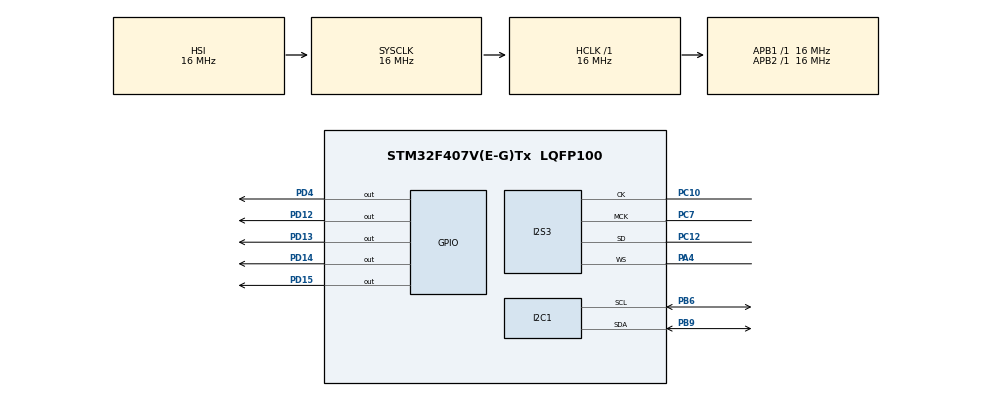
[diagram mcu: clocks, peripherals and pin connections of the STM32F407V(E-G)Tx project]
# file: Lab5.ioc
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Dma.Request0=SPI3_TX
Dma.SPI3_TX.0.Direction=DMA_MEMORY_TO_PERIPH
Dma.SPI3_TX.0.FIFOMode=DMA_FIFOMODE_ENABLE
Dma.SPI3_TX.0.FIFOThreshold=DMA_FIFO_THRESHOLD_FULL
Dma.SPI3_TX.0.Instance=DMA1_Stream5
Dma.SPI3_TX.0.MemBurst=DMA_MBURST_SINGLE
Dma.SPI3_TX.0.MemDataAlignment=DMA_MDATAALIGN_HALFWORD
Dma.SPI3_TX.0.MemInc=DMA_MINC_ENABLE
Dma.SPI3_TX.0.Mode=DMA_CIRCULAR
Dma.SPI3_TX.0.PeriphBurst=DMA_PBURST_SINGLE
Dma.SPI3_TX.0.PeriphDataAlignment=DMA_PDATAALIGN_HALFWORD
Dma.SPI3_TX.0.PeriphInc=DMA_PINC_DISABLE
Dma.SPI3_TX.0.Priority=DMA_PRIORITY_LOW
I2S3.AudioFreq=I2S_AUDIOFREQ_48K
I2S3.ErrorAudioFreq=-2.34 %
I2S3.FullDuplexMode=I2S_FULLDUPLEXMODE_DISABLE
I2S3.Instance=SPI$Index
I2S3.RealAudioFreq=46.875 KHz
I2S3.VirtualMode=I2S_MODE_MASTER
Mcu.Family=STM32F4
Mcu.Name=STM32F407V(E-G)Tx
Mcu.Package=LQFP100
NVIC.DMA1_Stream5_IRQn=true\:0\:0\:false\:false\:true\:false\:true\:true
NVIC.PriorityGroup=NVIC_PRIORITYGROUP_4
PA4.Mode=Half_Duplex_Master
PA4.Signal=I2S3_WS
PB6.Mode=I2C
PB6.Signal=I2C1_SCL
PB9.Mode=I2C
PB9.Signal=I2C1_SDA
PC10.Mode=Half_Duplex_Master
PC10.Signal=I2S3_CK
PC12.Mode=Half_Duplex_Master
PC12.Signal=I2S3_SD
PC7.Mode=Master_Clock_Activated
PC7.Signal=I2S3_MCK
PD12.Signal=GPIO_Output
PD13.Signal=GPIO_Output
PD14.Signal=GPIO_Output
PD15.Signal=GPIO_Output
PD4.Signal=GPIO_Output
ProjectManager.HeapSize=0x200
ProjectManager.StackSize=0x400
ProjectManager.TargetToolchain=STM32CubeIDE
RCC.AHBFreq_Value=16000000
RCC.APB1Freq_Value=16000000
RCC.APB2Freq_Value=16000000
RCC.CortexFreq_Value=16000000
RCC.HSE_VALUE=25000000
RCC.HSI_VALUE=16000000
RCC.LSE_VALUE=32768
RCC.SYSCLKFreq_VALUE=16000000
RCC.VCOOutputFreq_Value=192000000
board=custom

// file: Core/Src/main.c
/* USER CODE BEGIN Header */
/**
  ******************************************************************************
  * @file           : main.c
  * @brief          : Main program body
  ******************************************************************************
  * @attention
  *
  * Copyright (c) 2025 STMicroelectronics.
  * All rights reserved.
  *
  * This software is licensed under terms that can be found in the LICENSE file
  * in the root directory of this software component.
  * If no LICENSE file comes with this software, it is provided AS-IS.
  *
  ******************************************************************************
  */
/* USER CODE END Header */
#include "main.h"

/* USER CODE BEGIN PTD */
typedef enum
{
  C4 = 0x00,
  C5, D5, E5, F5, G5, A5, B5,
  C6, D6, E6, F6, G6, A6, B6, C7
} soundToneType;

/* USER CODE END PTD */

/* USER CODE BEGIN PD */
#define CS43L22_I2C_ADDRESS 0x94
#define I2C_TIMEOUT 10
/* USER CODE END PD */

I2C_HandleTypeDef hi2c1;

I2S_HandleTypeDef hi2s3;
DMA_HandleTypeDef hdma_spi3_tx;

/* USER CODE BEGIN PV */
int16_t dataI2S[100] = {0};
/* USER CODE END PV */

void SystemClock_Config(void);
static void MX_GPIO_Init(void);
static void MX_DMA_Init(void);
static void MX_I2C1_Init(void);
static void MX_I2S3_Init(void);

/* USER CODE BEGIN 0 */
void CS43L22_Init(void)
{
  HAL_GPIO_WritePin(GPIOD, GPIO_PIN_4, 1);

  uint8_t buffer[2];

  buffer[0] = 0x0D;
  buffer[1] = 0x01;
  HAL_I2C_Master_Transmit(&hi2c1, CS43L22_I2C_ADDRESS, (uint8_t *) &buffer, 2, I2C_TIMEOUT);

  buffer[0] = 0x00;
  buffer[1] = 0x99;
  HAL_I2C_Master_Transmit(&hi2c1, CS43L22_I2C_ADDRESS, (uint8_t *) &buffer, 2, I2C_TIMEOUT);

  buffer[0] = 0x47;
  buffer[1] = 0x80;
  HAL_I2C_Master_Transmit(&hi2c1, CS43L22_I2C_ADDRESS, (uint8_t *) &buffer, 2, I2C_TIMEOUT);

  buffer[0] = 0x32;
  buffer[1] = 0xFF;
  HAL_I2C_Master_Transmit(&hi2c1, CS43L22_I2C_ADDRESS, (uint8_t *) &buffer, 2, I2C_TIMEOUT);

  buffer[0] = 0x32;
  buffer[1] = 0x7F;
  HAL_I2C_Master_Transmit(&hi2c1, CS43L22_I2C_ADDRESS, (uint8_t *) &buffer, 2, I2C_TIMEOUT);

  buffer[0] = 0x00;
  buffer[1] = 0x00;
  HAL_I2C_Master_Transmit(&hi2c1, CS43L22_I2C_ADDRESS, (uint8_t *) &buffer, 2, I2C_TIMEOUT);

  buffer[0] = 0x04;
  buffer[1] = 0xAF;
  HAL_I2C_Master_Transmit(&hi2c1, CS43L22_I2C_ADDRESS, (uint8_t *) &buffer, 2, I2C_TIMEOUT);

  buffer[0] = 0x0D;
  buffer[1] = 0x70;
  HAL_I2C_Master_Transmit(&hi2c1, CS43L22_I2C_ADDRESS, (uint8_t *) &buffer, 2, I2C_TIMEOUT);

  buffer[0] = 0x05;
  buffer[1] = 0x81;
  HAL_I2C_Master_Transmit(&hi2c1, CS43L22_I2C_ADDRESS, (uint8_t *) &buffer, 2, I2C_TIMEOUT);

  buffer[0] = 0x06;
  buffer[1] = 0x07;
  HAL_I2C_Master_Transmit(&hi2c1, CS43L22_I2C_ADDRESS, (uint8_t *) &buffer, 2, I2C_TIMEOUT);

  buffer[0] = 0x0A;
  buffer[1] = 0x00;
  HAL_I2C_Master_Transmit(&hi2c1, CS43L22_I2C_ADDRESS, (uint8_t *) &buffer, 2, I2C_TIMEOUT);

  buffer[0] = 0x27;
  buffer[1] = 0x00;
  HAL_I2C_Master_Transmit(&hi2c1, CS43L22_I2C_ADDRESS, (uint8_t *) &buffer, 2, I2C_TIMEOUT);

  buffer[0] = 0x1A;
  buffer[1] = 0x0A;
  HAL_I2C_Master_Transmit(&hi2c1, CS43L22_I2C_ADDRESS, (uint8_t *) &buffer, 2, I2C_TIMEOUT);

  buffer[0] = 0x1B;
  buffer[1] = 0x0A;
  HAL_I2C_Master_Transmit(&hi2c1, CS43L22_I2C_ADDRESS, (uint8_t *) &buffer, 2, I2C_TIMEOUT);

  buffer[0] = 0x1F;
  buffer[1] = 0x0F;
  HAL_I2C_Master_Transmit(&hi2c1, CS43L22_I2C_ADDRESS, (uint8_t *) &buffer, 2, I2C_TIMEOUT);

  buffer[0] = 0x02;
  buffer[1] = 0x9E;
  HAL_I2C_Master_Transmit(&hi2c1, CS43L22_I2C_ADDRESS, (uint8_t *) &buffer, 2, I2C_TIMEOUT);
}

void CS43L22_Beep(soundToneType pitch, uint32_t delay)
{
  uint8_t buffer[2];

  buffer[0] = 0x1D;
  buffer[1] = 0x00;
  HAL_I2C_Master_Transmit(&hi2c1, CS43L22_I2C_ADDRESS, (uint8_t *) &buffer, 2, I2C_TIMEOUT);

  buffer[0] = 0x1C;
  buffer[1] = ((uint8_t)pitch << 4);
  HAL_I2C_Master_Transmit(&hi2c1, CS43L22_I2C_ADDRESS, (uint8_t *) &buffer, 2, I2C_TIMEOUT);

  buffer[0] = 0x1E;
  buffer[1] = 0xC0;
  HAL_I2C_Master_Transmit(&hi2c1, CS43L22_I2C_ADDRESS, (uint8_t *) &buffer, 2, I2C_TIMEOUT);

  HAL_Delay(delay);

  buffer[0] = 0x1E;
  buffer[1] = 0x00;
  HAL_I2C_Master_Transmit(&hi2c1, CS43L22_I2C_ADDRESS, (uint8_t *) &buffer, 2, I2C_TIMEOUT);
}

/* USER CODE END 0 */

int main(void)
{

  /* MCU Configuration--------------------------------------------------------*/

  /* Reset of all peripherals, Initializes the Flash interface and the Systick. */
  HAL_Init();

  /* Configure the system clock */
  SystemClock_Config();

  /* Initialize all configured peripherals */
  MX_GPIO_Init();
  MX_DMA_Init();
  MX_I2C1_Init();
  MX_I2S3_Init();
  /* USER CODE BEGIN 2 */

  CS43L22_Init();

  HAL_I2S_Transmit_DMA(&hi2s3, (uint16_t *) dataI2S, 100);

  /* USER CODE END 2 */

  /* Infinite loop */
  while (1)
  {
	  for (int i = 0; i < 3; ++i) {
		  HAL_GPIO_WritePin(GPIOD, GPIO_PIN_12, 1);
		  CS43L22_Beep(C6, 200);
		  HAL_Delay(50);
		  HAL_GPIO_WritePin(GPIOD, GPIO_PIN_13, 1);
		  CS43L22_Beep(D6, 200);
		  HAL_Delay(50);
		  HAL_GPIO_WritePin(GPIOD, GPIO_PIN_14, 1);
		  CS43L22_Beep(E6, 200);
		  HAL_Delay(50);
		  HAL_GPIO_WritePin(GPIOD, GPIO_PIN_15, 1);
		  CS43L22_Beep(F6, 200);
		  HAL_Delay(150);

		  HAL_GPIO_WritePin(GPIOD, GPIO_PIN_15, 0);
		  CS43L22_Beep(F6, 200);
		  HAL_Delay(50);
		  HAL_GPIO_WritePin(GPIOD, GPIO_PIN_14, 0);
		  CS43L22_Beep(E6, 200);
		  HAL_Delay(50);
		  HAL_GPIO_WritePin(GPIOD, GPIO_PIN_13, 0);
		  CS43L22_Beep(D6, 200);
		  HAL_Delay(50);
		  HAL_GPIO_WritePin(GPIOD, GPIO_PIN_12, 0);
		  CS43L22_Beep(C6, 200);
		  HAL_Delay(150);
	  }

	  while (1) { }
  }
}

void SystemClock_Config(void)
{
  RCC_OscInitTypeDef RCC_OscInitStruct = {0};
  RCC_ClkInitTypeDef RCC_ClkInitStruct = {0};

  /** Macro to configure the PLL multiplication factor
  */
  __HAL_RCC_PLL_PLLM_CONFIG(16);

  /** Macro to configure the PLL clock source
  */
  __HAL_RCC_PLL_PLLSOURCE_CONFIG(RCC_PLLSOURCE_HSI);

  /** Configure the main internal regulator output voltage
  */
  __HAL_RCC_PWR_CLK_ENABLE();
  __HAL_PWR_VOLTAGESCALING_CONFIG(PWR_REGULATOR_VOLTAGE_SCALE1);

  /** Initializes the RCC Oscillators according to the specified parameters
  * in the RCC_OscInitTypeDef structure.
  */
  RCC_OscInitStruct.OscillatorType = RCC_OSCILLATORTYPE_HSI;
  RCC_OscInitStruct.HSIState = RCC_HSI_ON;
  RCC_OscInitStruct.HSICalibrationValue = RCC_HSICALIBRATION_DEFAULT;
  RCC_OscInitStruct.PLL.PLLState = RCC_PLL_NONE;
  RCC_OscInitStruct.PLL.PLLSource = RCC_PLLSOURCE_HSI;
  if (HAL_RCC_OscConfig(&RCC_OscInitStruct) != HAL_OK)
  {
    Error_Handler();
  }

  /** Initializes the CPU, AHB and APB buses clocks
  */
  RCC_ClkInitStruct.ClockType = RCC_CLOCKTYPE_HCLK|RCC_CLOCKTYPE_SYSCLK
                              |RCC_CLOCKTYPE_PCLK1|RCC_CLOCKTYPE_PCLK2;
  RCC_ClkInitStruct.SYSCLKSource = RCC_SYSCLKSOURCE_HSI;
  RCC_ClkInitStruct.AHBCLKDivider = RCC_SYSCLK_DIV1;
  RCC_ClkInitStruct.APB1CLKDivider = RCC_HCLK_DIV1;
  RCC_ClkInitStruct.APB2CLKDivider = RCC_HCLK_DIV1;

  if (HAL_RCC_ClockConfig(&RCC_ClkInitStruct, FLASH_LATENCY_0) != HAL_OK)
  {
    Error_Handler();
  }
}

static void MX_I2C1_Init(void)
{

  hi2c1.Instance = I2C1;
  hi2c1.Init.ClockSpeed = 100000;
  hi2c1.Init.DutyCycle = I2C_DUTYCYCLE_2;
  hi2c1.Init.OwnAddress1 = 0;
  hi2c1.Init.AddressingMode = I2C_ADDRESSINGMODE_7BIT;
  hi2c1.Init.DualAddressMode = I2C_DUALADDRESS_DISABLE;
  hi2c1.Init.OwnAddress2 = 0;
  hi2c1.Init.GeneralCallMode = I2C_GENERALCALL_DISABLE;
  hi2c1.Init.NoStretchMode = I2C_NOSTRETCH_DISABLE;
  if (HAL_I2C_Init(&hi2c1) != HAL_OK)
  {
    Error_Handler();
  }

}

static void MX_I2S3_Init(void)
{

  hi2s3.Instance = SPI3;
  hi2s3.Init.Mode = I2S_MODE_MASTER_TX;
  hi2s3.Init.Standard = I2S_STANDARD_PHILIPS;
  hi2s3.Init.DataFormat = I2S_DATAFORMAT_16B;
  hi2s3.Init.MCLKOutput = I2S_MCLKOUTPUT_ENABLE;
  hi2s3.Init.AudioFreq = I2S_AUDIOFREQ_48K;
  hi2s3.Init.CPOL = I2S_CPOL_LOW;
  hi2s3.Init.ClockSource = I2S_CLOCK_PLL;
  hi2s3.Init.FullDuplexMode = I2S_FULLDUPLEXMODE_DISABLE;
  if (HAL_I2S_Init(&hi2s3) != HAL_OK)
  {
    Error_Handler();
  }

}

static void MX_DMA_Init(void)
{

  /* DMA controller clock enable */
  __HAL_RCC_DMA1_CLK_ENABLE();

  /* DMA interrupt init */
  /* DMA1_Stream5_IRQn interrupt configuration */
  HAL_NVIC_SetPriority(DMA1_Stream5_IRQn, 0, 0);
  HAL_NVIC_EnableIRQ(DMA1_Stream5_IRQn);

}

static void MX_GPIO_Init(void)
{
  GPIO_InitTypeDef GPIO_InitStruct = {0};

  /* GPIO Ports Clock Enable */
  __HAL_RCC_GPIOA_CLK_ENABLE();
  __HAL_RCC_GPIOD_CLK_ENABLE();
  __HAL_RCC_GPIOC_CLK_ENABLE();
  __HAL_RCC_GPIOB_CLK_ENABLE();

  /*Configure GPIO pin Output Level */
  HAL_GPIO_WritePin(GPIOD, GPIO_PIN_12|GPIO_PIN_13|GPIO_PIN_14|GPIO_PIN_15
                          |GPIO_PIN_4, GPIO_PIN_RESET);

  /*Configure GPIO pins : PD12 PD13 PD14 PD15
                           PD4 */
  GPIO_InitStruct.Pin = GPIO_PIN_12|GPIO_PIN_13|GPIO_PIN_14|GPIO_PIN_15
                          |GPIO_PIN_4;
  GPIO_InitStruct.Mode = GPIO_MODE_OUTPUT_PP;
  GPIO_InitStruct.Pull = GPIO_NOPULL;
  GPIO_InitStruct.Speed = GPIO_SPEED_FREQ_LOW;
  HAL_GPIO_Init(GPIOD, &GPIO_InitStruct);

}

void Error_Handler(void)
{
  __disable_irq();
  while (1)
  {
  }
}
